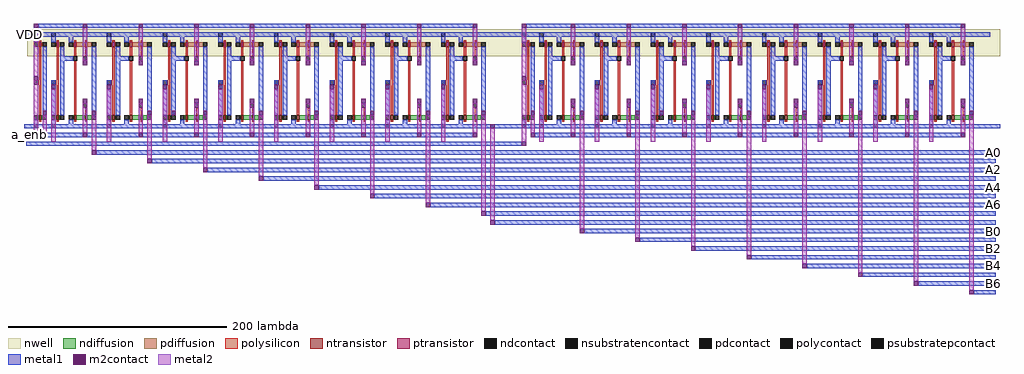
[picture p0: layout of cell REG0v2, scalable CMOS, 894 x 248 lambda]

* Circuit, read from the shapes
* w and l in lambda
.subckt REG0v2 A0 A1 A2 A3 A4 A5 A6 A7 B0 B1 B2 B3 B4 B5 B6 B7 VDD VSS a_enb b_enb
M1 BUFFER8v2_0/INV_0/Y a_enb VSS VSS nfet w=4 l=2
M2 BUFFER8v2_0/BUFFER2_0/INV_0/Y VSS VSS VSS nfet w=4 l=2
M3 n1 BUFFER8v2_0/BUFFER2_0/INV_0/Y VSS VSS nfet w=4 l=2
M4 A0 BUFFER8v2_0/INV_0/Y n1 VSS nfet w=4 l=2
M5 BUFFER8v2_0/BUFFER2_1/INV_0/Y VSS VSS VSS nfet w=4 l=2
M6 n2 BUFFER8v2_0/BUFFER2_1/INV_0/Y VSS VSS nfet w=4 l=2
M7 A1 BUFFER8v2_0/INV_0/Y n2 VSS nfet w=4 l=2
M8 BUFFER8v2_0/BUFFER2_2/INV_0/Y VSS VSS VSS nfet w=4 l=2
M9 n3 BUFFER8v2_0/BUFFER2_2/INV_0/Y VSS VSS nfet w=4 l=2
M10 A2 BUFFER8v2_0/INV_0/Y n3 VSS nfet w=4 l=2
M11 BUFFER8v2_0/BUFFER2_3/INV_0/Y VSS VSS VSS nfet w=4 l=2
M12 n4 BUFFER8v2_0/BUFFER2_3/INV_0/Y VSS VSS nfet w=4 l=2
M13 A3 BUFFER8v2_0/INV_0/Y n4 VSS nfet w=4 l=2
M14 BUFFER8v2_0/BUFFER2_4/INV_0/Y VSS VSS VSS nfet w=4 l=2
M15 n5 BUFFER8v2_0/BUFFER2_4/INV_0/Y VSS VSS nfet w=4 l=2
M16 A4 BUFFER8v2_0/INV_0/Y n5 VSS nfet w=4 l=2
M17 BUFFER8v2_0/BUFFER2_5/INV_0/Y VSS VSS VSS nfet w=4 l=2
M18 n6 BUFFER8v2_0/BUFFER2_5/INV_0/Y VSS VSS nfet w=4 l=2
M19 A5 BUFFER8v2_0/INV_0/Y n6 VSS nfet w=4 l=2
M20 BUFFER8v2_0/BUFFER2_6/INV_0/Y VSS VSS VSS nfet w=4 l=2
M21 n7 BUFFER8v2_0/BUFFER2_6/INV_0/Y VSS VSS nfet w=4 l=2
M22 A6 BUFFER8v2_0/INV_0/Y n7 VSS nfet w=4 l=2
M23 BUFFER8v2_0/BUFFER2_7/INV_0/Y VSS VSS VSS nfet w=4 l=2
M24 n8 BUFFER8v2_0/BUFFER2_7/INV_0/Y VSS VSS nfet w=4 l=2
M25 A7 BUFFER8v2_0/INV_0/Y n8 VSS nfet w=4 l=2
M26 BUFFER8v2_1/INV_0/Y b_enb VSS VSS nfet w=4 l=2
M27 BUFFER8v2_1/BUFFER2_0/INV_0/Y VSS VSS VSS nfet w=4 l=2
M28 n9 BUFFER8v2_1/BUFFER2_0/INV_0/Y VSS VSS nfet w=4 l=2
M29 B0 BUFFER8v2_1/INV_0/Y n9 VSS nfet w=4 l=2
M30 BUFFER8v2_1/BUFFER2_1/INV_0/Y VSS VSS VSS nfet w=4 l=2
M31 n10 BUFFER8v2_1/BUFFER2_1/INV_0/Y VSS VSS nfet w=4 l=2
M32 B1 BUFFER8v2_1/INV_0/Y n10 VSS nfet w=4 l=2
M33 BUFFER8v2_1/BUFFER2_2/INV_0/Y VSS VSS VSS nfet w=4 l=2
M34 n11 BUFFER8v2_1/BUFFER2_2/INV_0/Y VSS VSS nfet w=4 l=2
M35 B2 BUFFER8v2_1/INV_0/Y n11 VSS nfet w=4 l=2
M36 BUFFER8v2_1/BUFFER2_3/INV_0/Y VSS VSS VSS nfet w=4 l=2
M37 n12 BUFFER8v2_1/BUFFER2_3/INV_0/Y VSS VSS nfet w=4 l=2
M38 B3 BUFFER8v2_1/INV_0/Y n12 VSS nfet w=4 l=2
M39 BUFFER8v2_1/BUFFER2_4/INV_0/Y VSS VSS VSS nfet w=4 l=2
M40 n13 BUFFER8v2_1/BUFFER2_4/INV_0/Y VSS VSS nfet w=4 l=2
M41 B4 BUFFER8v2_1/INV_0/Y n13 VSS nfet w=4 l=2
M42 BUFFER8v2_1/BUFFER2_5/INV_0/Y VSS VSS VSS nfet w=4 l=2
M43 n14 BUFFER8v2_1/BUFFER2_5/INV_0/Y VSS VSS nfet w=4 l=2
M44 B5 BUFFER8v2_1/INV_0/Y n14 VSS nfet w=4 l=2
M45 BUFFER8v2_1/BUFFER2_6/INV_0/Y VSS VSS VSS nfet w=4 l=2
M46 n15 BUFFER8v2_1/BUFFER2_6/INV_0/Y VSS VSS nfet w=4 l=2
M47 B6 BUFFER8v2_1/INV_0/Y n15 VSS nfet w=4 l=2
M48 BUFFER8v2_1/BUFFER2_7/INV_0/Y VSS VSS VSS nfet w=4 l=2
M49 n16 BUFFER8v2_1/BUFFER2_7/INV_0/Y VSS VSS nfet w=4 l=2
M50 B7 BUFFER8v2_1/INV_0/Y n16 VSS nfet w=4 l=2
M51 BUFFER8v2_0/INV_0/Y a_enb VDD VDD pfet w=4 l=2
M52 BUFFER8v2_0/BUFFER2_0/INV_0/Y VSS VDD VDD pfet w=4 l=2
M53 n17 BUFFER8v2_0/BUFFER2_0/INV_0/Y VDD VDD pfet w=4 l=2
M54 A0 a_enb n17 VDD pfet w=4 l=2
M55 BUFFER8v2_0/BUFFER2_1/INV_0/Y VSS VDD VDD pfet w=4 l=2
M56 n18 BUFFER8v2_0/BUFFER2_1/INV_0/Y VDD VDD pfet w=4 l=2
M57 A1 a_enb n18 VDD pfet w=4 l=2
M58 BUFFER8v2_0/BUFFER2_2/INV_0/Y VSS VDD VDD pfet w=4 l=2
M59 n19 BUFFER8v2_0/BUFFER2_2/INV_0/Y VDD VDD pfet w=4 l=2
M60 A2 a_enb n19 VDD pfet w=4 l=2
M61 BUFFER8v2_0/BUFFER2_3/INV_0/Y VSS VDD VDD pfet w=4 l=2
M62 n20 BUFFER8v2_0/BUFFER2_3/INV_0/Y VDD VDD pfet w=4 l=2
M63 A3 a_enb n20 VDD pfet w=4 l=2
M64 BUFFER8v2_0/BUFFER2_4/INV_0/Y VSS VDD VDD pfet w=4 l=2
M65 n21 BUFFER8v2_0/BUFFER2_4/INV_0/Y VDD VDD pfet w=4 l=2
M66 A4 a_enb n21 VDD pfet w=4 l=2
M67 BUFFER8v2_0/BUFFER2_5/INV_0/Y VSS VDD VDD pfet w=4 l=2
M68 n22 BUFFER8v2_0/BUFFER2_5/INV_0/Y VDD VDD pfet w=4 l=2
M69 A5 a_enb n22 VDD pfet w=4 l=2
M70 BUFFER8v2_0/BUFFER2_6/INV_0/Y VSS VDD VDD pfet w=4 l=2
M71 n23 BUFFER8v2_0/BUFFER2_6/INV_0/Y VDD VDD pfet w=4 l=2
M72 A6 a_enb n23 VDD pfet w=4 l=2
M73 BUFFER8v2_0/BUFFER2_7/INV_0/Y VSS VDD VDD pfet w=4 l=2
M74 n24 BUFFER8v2_0/BUFFER2_7/INV_0/Y VDD VDD pfet w=4 l=2
M75 A7 a_enb n24 VDD pfet w=4 l=2
M76 BUFFER8v2_1/INV_0/Y b_enb VDD VDD pfet w=4 l=2
M77 BUFFER8v2_1/BUFFER2_0/INV_0/Y VSS VDD VDD pfet w=4 l=2
M78 n25 BUFFER8v2_1/BUFFER2_0/INV_0/Y VDD VDD pfet w=4 l=2
M79 B0 b_enb n25 VDD pfet w=4 l=2
M80 BUFFER8v2_1/BUFFER2_1/INV_0/Y VSS VDD VDD pfet w=4 l=2
M81 n26 BUFFER8v2_1/BUFFER2_1/INV_0/Y VDD VDD pfet w=4 l=2
M82 B1 b_enb n26 VDD pfet w=4 l=2
M83 BUFFER8v2_1/BUFFER2_2/INV_0/Y VSS VDD VDD pfet w=4 l=2
M84 n27 BUFFER8v2_1/BUFFER2_2/INV_0/Y VDD VDD pfet w=4 l=2
M85 B2 b_enb n27 VDD pfet w=4 l=2
M86 BUFFER8v2_1/BUFFER2_3/INV_0/Y VSS VDD VDD pfet w=4 l=2
M87 n28 BUFFER8v2_1/BUFFER2_3/INV_0/Y VDD VDD pfet w=4 l=2
M88 B3 b_enb n28 VDD pfet w=4 l=2
M89 BUFFER8v2_1/BUFFER2_4/INV_0/Y VSS VDD VDD pfet w=4 l=2
M90 n29 BUFFER8v2_1/BUFFER2_4/INV_0/Y VDD VDD pfet w=4 l=2
M91 B4 b_enb n29 VDD pfet w=4 l=2
M92 BUFFER8v2_1/BUFFER2_5/INV_0/Y VSS VDD VDD pfet w=4 l=2
M93 n30 BUFFER8v2_1/BUFFER2_5/INV_0/Y VDD VDD pfet w=4 l=2
M94 B5 b_enb n30 VDD pfet w=4 l=2
M95 BUFFER8v2_1/BUFFER2_6/INV_0/Y VSS VDD VDD pfet w=4 l=2
M96 n31 BUFFER8v2_1/BUFFER2_6/INV_0/Y VDD VDD pfet w=4 l=2
M97 B6 b_enb n31 VDD pfet w=4 l=2
M98 BUFFER8v2_1/BUFFER2_7/INV_0/Y VSS VDD VDD pfet w=4 l=2
M99 n32 BUFFER8v2_1/BUFFER2_7/INV_0/Y VDD VDD pfet w=4 l=2
M100 B7 b_enb n32 VDD pfet w=4 l=2
.ends

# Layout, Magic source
magic
tech scmos
<< nwell >>
rect 447 102 451 103
rect 445 100 451 102
rect 3 96 7 100
rect 438 96 451 100
rect 445 78 451 96
<< metal1 >>
rect 3 96 7 100
rect 438 96 449 100
rect 25 24 29 52
rect 76 24 80 52
rect 127 24 131 52
rect 178 24 182 52
rect 229 24 233 52
rect 280 24 284 52
rect 331 24 335 52
rect 382 24 386 52
rect 472 20 476 48
rect 523 16 527 52
rect 574 16 578 52
rect 625 16 629 52
rect 676 16 680 52
rect 727 16 731 52
rect 778 16 782 52
rect 829 16 833 52
rect 3 12 7 16
rect 2 4 9 8
rect 2 -4 456 0
rect 66 -12 890 -8
rect 117 -20 890 -16
rect 168 -28 890 -24
rect 219 -36 890 -32
rect 270 -44 890 -40
rect 321 -52 890 -48
rect 372 -60 890 -56
rect 423 -68 890 -64
rect 431 -76 890 -72
rect 513 -84 890 -80
rect 564 -92 890 -88
rect 615 -100 890 -96
rect 666 -108 890 -104
rect 717 -116 890 -112
rect 768 -124 890 -120
rect 819 -132 890 -128
rect 870 -140 890 -136
<< m2contact >>
rect 427 12 431 16
rect 9 4 13 8
rect 456 -4 460 0
rect 62 -12 66 -8
rect 113 -20 117 -16
rect 164 -28 168 -24
rect 215 -36 219 -32
rect 266 -44 270 -40
rect 317 -52 321 -48
rect 368 -60 372 -56
rect 419 -68 423 -64
rect 427 -76 431 -72
rect 509 -84 513 -80
rect 560 -92 564 -88
rect 611 -100 615 -96
rect 662 -108 666 -104
rect 713 -116 717 -112
rect 764 -124 768 -120
rect 815 -132 819 -128
rect 866 -140 870 -136
<< metal2 >>
rect 9 8 13 56
rect 62 -8 66 0
rect 113 -16 117 0
rect 164 -24 168 0
rect 215 -32 219 0
rect 266 -40 270 0
rect 317 -48 321 0
rect 368 -56 372 0
rect 419 -64 423 0
rect 427 -72 431 12
rect 456 0 460 56
rect 509 -80 513 0
rect 560 -88 564 0
rect 611 -96 615 0
rect 662 -104 666 0
rect 713 -112 717 0
rect 764 -120 768 0
rect 815 -128 819 0
rect 866 -136 870 0
use BUFFER8v2  BUFFER8v2_0
transform 1 0 3 0 1 4
box -3 -4 444 104
use BUFFER8v2  BUFFER8v2_1
transform 1 0 450 0 1 4
box -3 -4 444 104
<< labels >>
rlabel metal1 5 6 5 6 3 a_enb
rlabel metal1 5 -2 5 -2 2 b_enb
rlabel metal1 888 -10 888 -10 1 A0
rlabel metal1 888 -18 888 -18 1 A1
rlabel metal1 888 -26 888 -26 1 A2
rlabel metal1 888 -34 888 -34 1 A3
rlabel metal1 888 -42 888 -42 1 A4
rlabel metal1 888 -50 888 -50 1 A5
rlabel metal1 888 -58 888 -58 1 A6
rlabel metal1 888 -66 888 -66 1 A7
rlabel metal1 888 -82 888 -82 1 B0
rlabel metal1 5 14 5 14 3 VSS
rlabel metal1 5 98 5 98 3 VDD
rlabel metal1 888 -90 888 -90 1 B1
rlabel metal1 888 -98 888 -98 1 B2
rlabel metal1 888 -106 888 -106 1 B3
rlabel metal1 888 -114 888 -114 1 B4
rlabel metal1 888 -122 888 -122 1 B5
rlabel metal1 888 -130 888 -130 1 B6
rlabel metal1 888 -138 888 -138 1 B7
<< end >>

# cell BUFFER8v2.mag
magic
tech scmos
<< metal1 >>
rect 10 100 412 104
rect -3 92 396 96
rect 59 40 63 51
rect -3 8 396 12
rect 18 0 412 4
<< m2contact >>
rect 6 100 10 104
rect 6 52 10 56
rect 22 44 26 48
rect 73 44 77 48
rect 124 44 128 48
rect 175 44 179 48
rect 226 44 230 48
rect 277 44 281 48
rect 328 44 332 48
rect 379 44 383 48
rect 14 20 18 24
rect 59 20 63 24
rect 110 20 114 24
rect 132 20 136 24
rect 161 20 165 24
rect 212 20 216 24
rect 263 20 267 24
rect 314 20 318 24
rect 365 20 369 24
rect 416 20 420 24
rect 14 0 18 4
<< metal2 >>
rect 6 56 10 100
rect 14 4 18 20
rect 22 -4 26 44
rect 59 -4 63 20
rect 73 -4 77 44
rect 110 -4 114 20
rect 124 -4 128 44
rect 161 -4 165 20
rect 175 -4 179 44
rect 212 -4 216 20
rect 226 -4 230 44
rect 263 -4 267 20
rect 277 -4 281 44
rect 314 -4 318 20
rect 328 -4 332 44
rect 365 -4 369 20
rect 379 -4 383 44
rect 416 -4 420 20
use BUFFER2  BUFFER2_0
transform 1 0 16 0 1 8
box 0 -8 71 96
use BUFFER2  BUFFER2_1
transform 1 0 67 0 1 8
box 0 -8 71 96
use BUFFER2  BUFFER2_2
transform 1 0 118 0 1 8
box 0 -8 71 96
use BUFFER2  BUFFER2_3
transform 1 0 169 0 1 8
box 0 -8 71 96
use BUFFER2  BUFFER2_4
transform 1 0 220 0 1 8
box 0 -8 71 96
use BUFFER2  BUFFER2_5
transform 1 0 271 0 1 8
box 0 -8 71 96
use BUFFER2  BUFFER2_6
transform 1 0 322 0 1 8
box 0 -8 71 96
use BUFFER2  BUFFER2_7
transform 1 0 373 0 1 8
box 0 -8 71 96
use INV  INV_0
transform 1 0 4 0 1 8
box -4 0 20 91
<< labels >>
rlabel metal2 8 59 8 59 1 en
rlabel metal2 24 -2 24 -2 1 A0
rlabel metal2 61 -2 61 -2 1 Y0
rlabel metal2 75 -2 75 -2 1 A1
rlabel metal2 112 -1 112 -1 1 Y1
rlabel metal2 126 -2 126 -2 1 A2
rlabel metal2 163 -2 163 -2 1 Y2
rlabel metal2 177 -2 177 -2 1 A3
rlabel metal2 214 -2 214 -2 1 Y3
rlabel metal2 228 -2 228 -2 1 A4
rlabel metal2 265 -2 265 -2 1 Y4
rlabel metal2 279 -2 279 -2 1 A5
rlabel metal2 316 -2 316 -2 1 Y5
rlabel metal2 330 -2 330 -2 1 A6
rlabel metal2 367 -2 367 -2 1 Y6
rlabel metal2 418 -2 418 -2 1 Y7
rlabel metal2 381 -2 381 -2 1 A7
rlabel metal1 -2 94 -2 94 3 VDD
rlabel metal1 -2 10 -2 10 3 VSS
<< end >>

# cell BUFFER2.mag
magic
tech scmos
<< nwell >>
rect 23 88 71 91
rect 10 84 14 88
rect 20 84 71 88
rect 23 79 71 84
rect 22 75 71 79
rect 23 66 71 75
<< ntransistor >>
rect 27 8 29 12
rect 37 8 39 12
<< ptransistor >>
rect 27 75 29 79
rect 37 75 39 79
<< ndiffusion >>
rect 26 8 27 12
rect 29 8 37 12
rect 39 8 43 12
<< pdiffusion >>
rect 26 75 27 79
rect 29 75 37 79
rect 39 75 43 79
<< ndcontact >>
rect 22 8 26 12
rect 43 8 47 12
<< pdcontact >>
rect 22 75 26 79
rect 43 75 47 79
<< polysilicon >>
rect 27 79 29 81
rect 37 79 39 81
rect 27 66 29 75
rect 37 66 39 75
rect 27 12 29 62
rect 37 12 39 19
rect 27 6 29 8
rect 37 6 39 8
<< polycontact >>
rect 26 62 30 66
rect 35 62 39 66
rect 35 19 39 23
<< metal1 >>
rect 4 92 35 96
rect 10 84 14 88
rect 20 84 62 88
rect 22 79 26 84
rect 18 62 26 66
rect 6 40 10 44
rect 43 12 47 75
rect 22 4 26 8
rect 10 0 14 4
rect 20 0 71 4
rect 4 -8 35 -4
<< m2contact >>
rect 35 92 39 96
rect 35 58 39 62
rect 35 23 39 27
rect 35 -8 39 -4
<< metal2 >>
rect 35 62 39 92
rect 35 -4 39 23
use INV  INV_0
transform 1 0 4 0 1 0
box -4 0 20 91
<< labels >>
rlabel metal1 45 41 45 41 1 Y
rlabel metal1 8 41 8 41 1 A
rlabel metal1 11 2 11 2 2 VSS
rlabel metal1 12 86 12 86 4 VDD
rlabel metal1 6 -6 6 -6 1 enb
rlabel metal1 6 94 6 94 5 en
<< end >>

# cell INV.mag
magic
tech scmos
<< nwell >>
rect -4 66 20 91
<< ntransistor >>
rect 7 8 9 12
<< ptransistor >>
rect 7 75 9 79
<< ndiffusion >>
rect 6 8 7 12
rect 9 8 10 12
<< pdiffusion >>
rect 6 75 7 79
rect 9 75 10 79
<< ndcontact >>
rect 2 8 6 12
rect 10 8 14 12
<< pdcontact >>
rect 2 75 6 79
rect 10 75 14 79
<< psubstratepcontact >>
rect 2 0 6 4
<< nsubstratencontact >>
rect 2 84 6 88
<< polysilicon >>
rect 7 79 9 81
rect 7 44 9 75
rect 6 40 9 44
rect 7 12 9 40
rect 7 6 9 8
<< polycontact >>
rect 2 40 6 44
<< metal1 >>
rect 0 84 2 88
rect 6 84 16 88
rect 2 79 6 84
rect 10 12 14 75
rect 2 4 6 8
rect 0 0 2 4
rect 6 0 16 4
<< labels >>
rlabel metal1 1 2 1 2 2 VSS
rlabel metal1 12 17 12 17 1 Y
rlabel metal1 1 86 1 86 4 VDD
rlabel polycontact 4 42 4 42 1 A
<< end >>
